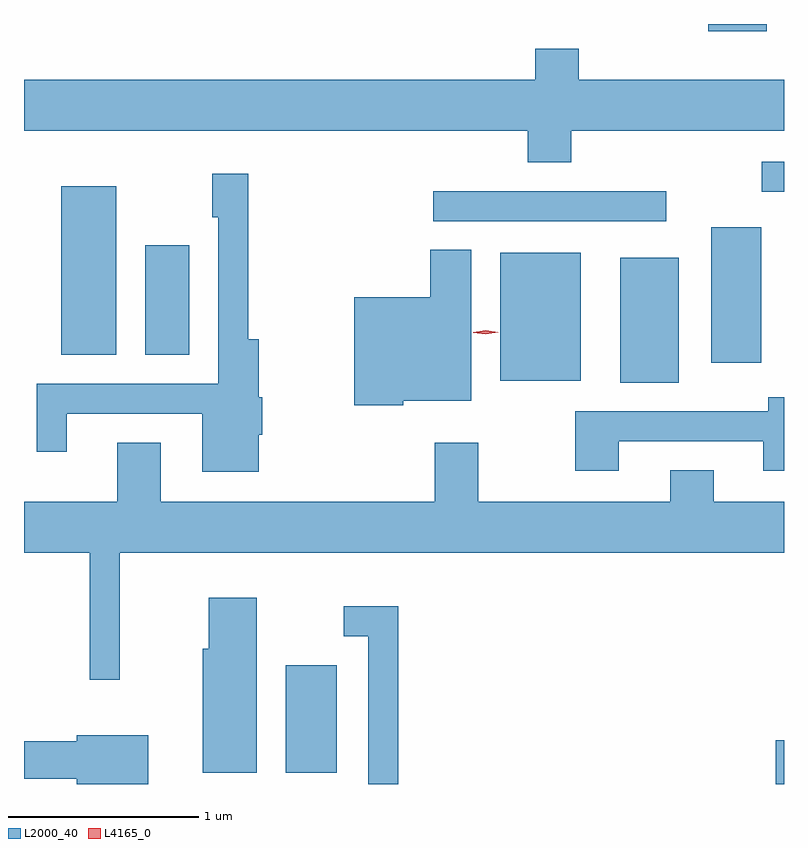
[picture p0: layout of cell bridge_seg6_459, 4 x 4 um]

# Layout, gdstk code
import gdstk
lib = gdstk.Library(unit=1e-6, precision=1e-09)
def R(c, l, rs):  # rectangles x0, y0, x1, y1
    for r in rs: c.add(gdstk.rectangle(r[:2], r[2:], *l))
def P(c, l, *ps):  # polygons
    for p in ps: c.add(gdstk.Polygon(p, *l))
L2000_40 = (2000, 40)
L4165_0 = (4165, 0)

bridge_seg6_459 = lib.new_cell('bridge_seg6_459')
R(bridge_seg6_459, L2000_40, [(625.966,1566.578,626.009,1566.809), (623.386,1566.636,623.654,1567.204), (625.146,1568.691,625.454,1569.349), (624.516,1568.701,624.939,1569.374), (625.626,1568.796,625.889,1569.509), (622.206,1568.836,622.494,1569.724), (622.646,1568.836,622.879,1569.414), (624.163,1569.541,625.388,1569.699), (625.893,1569.696,626.009,1569.854), (625.611,1570.541,625.919,1570.578)])
P(bridge_seg6_459, L2000_40, [(624.889,1570.016),(626.009,1570.016),(626.009,1570.284),(624.929,1570.284),(624.929,1570.449),(624.701,1570.449),(624.701,1570.284),(622.009,1570.284),(622.009,1570.016),(624.661,1570.016),(624.661,1569.851),(624.889,1569.851)],
  [(623.244,1568.416),(623.264,1568.416),(623.264,1568.614),(623.244,1568.614),(623.244,1568.919),(623.189,1568.919),(623.189,1569.789),(623.001,1569.789),(623.001,1569.561),(623.031,1569.561),(623.031,1568.684),(622.076,1568.684),(622.076,1568.328),(622.234,1568.328),(622.234,1568.526),(622.946,1568.526),(622.946,1568.221),(623.244,1568.221)],
  [(624.004,1568.596),(624.364,1568.596),(624.364,1569.389),(624.146,1569.389),(624.146,1569.139),(623.746,1569.139),(623.746,1568.571),(624.004,1568.571)],
  [(625.139,1568.381),(625.901,1568.381),(625.901,1568.226),(626.009,1568.226),(626.009,1568.614),(625.926,1568.614),(625.926,1568.539),(624.911,1568.539),(624.911,1568.226),(625.139,1568.226)],
  [(622.514,1567.796),(626.009,1567.796),(626.009,1568.064),(625.639,1568.064),(625.639,1568.229),(625.411,1568.229),(625.411,1568.064),(624.399,1568.064),(624.399,1568.374),(624.171,1568.374),(624.171,1568.064),(622.729,1568.064),(622.729,1568.374),(622.501,1568.374),(622.501,1568.064),(622.009,1568.064),(622.009,1567.796),(622.356,1567.796),(622.356,1567.128),(622.514,1567.128)],
  [(623.234,1567.559),(622.981,1567.559),(622.981,1567.289),(622.951,1567.289),(622.951,1566.636),(623.234,1566.636)],
  [(623.979,1567.514),(623.693,1567.514),(623.693,1567.356),(623.821,1567.356),(623.821,1566.578),(623.979,1566.578)],
  [(622.664,1566.834),(622.286,1566.834),(622.286,1566.804),(622.009,1566.804),(622.009,1566.606),(622.286,1566.606),(622.286,1566.578),(622.664,1566.578)])
P(bridge_seg6_459, L4165_0, [(624.44,1568.945),(624.374,1568.954),(624.374,1568.955),(624.374,1568.955),(624.44,1568.965),(624.506,1568.956),(624.506,1568.956),(624.506,1568.955)])

lib.write_gds('bridge_seg6_459.gds')
